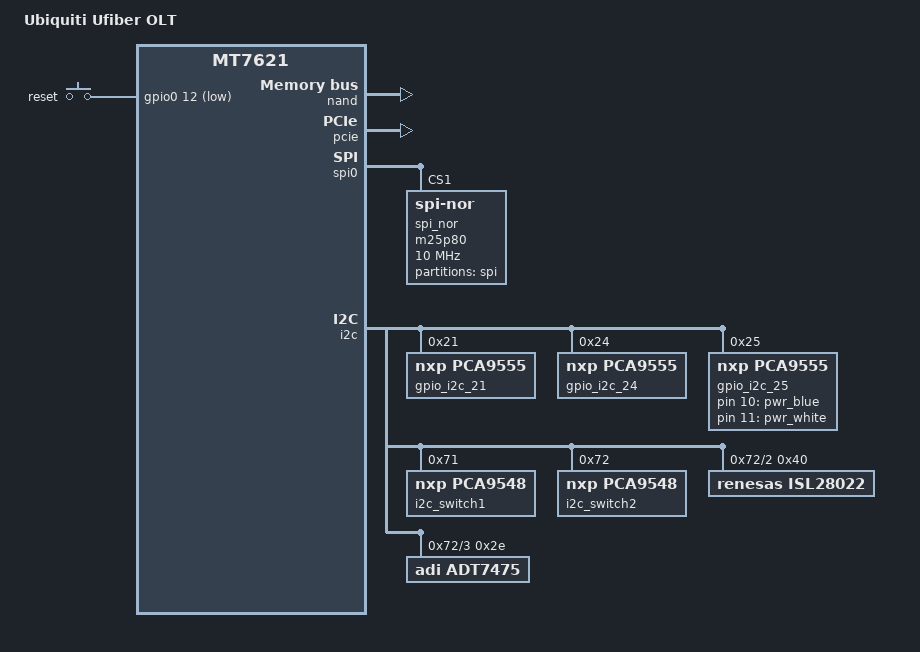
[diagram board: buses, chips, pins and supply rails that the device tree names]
#include "mt7621.dtsi"

#include <dt-bindings/gpio/gpio.h>
#include <dt-bindings/input/input.h>

/ {
	compatible = "ubiquiti,ufiber-olt";
	model = "Ubiquiti Ufiber OLT";

	gpio-keys-polled {
		compatible = "gpio-keys-polled";
		#address-cells = <1>;
		#size-cells = <0>;
		poll-interval = <20>;

		reset {
			label = "reset";
			gpios = <&gpio0 12 GPIO_ACTIVE_LOW>;
			linux,code = <KEY_RESTART>;
		};
	};

	leds: leds {};
};

&ethernet {
	mtd-mac-address = <&factory 0x22>;
};

&nand {
	status = "okay";

	partition@0 {
		reg = <0x0 0x0>;
		read-only;
	};
	partition@1 {
		reg = <0x0 0x0>;
		read-only;
	};
	partition@2 {
		label = "u-boot";
		reg = <0x0 0x80000>;
		read-only;
	};

	partition@80000 {
		label = "u-boot-env";
		reg = <0x80000 0x60000>;
		read-only;
	};

	factory: partition@e0000 {
		label = "eeprom";
		reg = <0xe0000 0x60000>;
	};

	partition@140000 {
		label = "kernel1";
		reg = <0x140000 0x300000>;
	};

	partition@440000 {
		label = "kernel2";
		reg = <0x440000 0x300000>;
	};

	partition@740000 {
		label = "ubi";
		reg = <0x740000 0x1f4c0000>;
	};
};

&pinctrl {
	state_default: pinctrl0 {
		gpio {
			ralink,group = "uart2", "uart3", "rgmii2", "jtag";
			ralink,function = "gpio";
		};
	};
};

&pcie {
	status = "okay";
};

&spi0 {
	/* This board has 2Mb spi flash soldered in and visible
	   from manufacturer's firmware.
	   But this SoC shares spi and nand pins,
	   and current driver does't handle this sharing well */
	status = "okay";

	spi_nor: m25p80@0 {
		#address-cells = <1>;
		#size-cells = <1>;
		compatible = "jedec,spi-nor";
		reg = <1>;
		spi-max-frequency = <10000000>;
		m25p,fast-read = <32>;

		partition@0 {
			label = "spi";
			reg = <0x0 0x200000>;
			read-only;
		};
	};
};

&xhci {
	status = "disabled";
};

&i2c {
	status = "okay";
	gpio_i2c_21: pca9555@21 {
		compatible = "nxp,pca9555";
		reg = <0x21>;
		status = "okay";
		#gpio-cells = <2>;
	};
	gpio_i2c_24: pca9555@24 {
		compatible = "nxp,pca9555";
		reg = <0x24>;
		status = "okay";
		#gpio-cells = <2>;
	};
	gpio_i2c_25: pca9555@25 {
		compatible = "nxp,pca9555";
		reg = <0x25>;
		status = "okay";
		#gpio-cells = <2>;
	};
	i2c_switch1: i2c-switch@71 {
		compatible = "nxp,pca9548";
		#address-cells = <1>;
		#size-cells = <0>;
		reg = <0x71>;
		i2c-mux-idle-disconnect;
		i2c71@0 {
			#address-cells = <1>;
			#size-cells = <0>;
			reg = <0>;
		};
		i2c71@1 {
			#address-cells = <1>;
			#size-cells = <0>;
			reg = <1>;
		};
		i2c71@2 {
			#address-cells = <1>;
			#size-cells = <0>;
			reg = <2>;
		};
		i2c71@3 {
			#address-cells = <1>;
			#size-cells = <0>;
			reg = <3>;
		};
		i2c71@4 {
			#address-cells = <1>;
			#size-cells = <0>;
			reg = <4>;
		};
		i2c71@5 {
			#address-cells = <1>;
			#size-cells = <0>;
			reg = <5>;
		};
		i2c71@6 {
			#address-cells = <1>;
			#size-cells = <0>;
			reg = <6>;
		};
		i2c71@7 {
			#address-cells = <1>;
			#size-cells = <0>;
			reg = <7>;
		};
	};
	i2c_switch2: i2c-switch@72 {
		compatible = "nxp,pca9548";
		#address-cells = <1>;
		#size-cells = <0>;
		reg = <0x72>;
		i2c-mux-idle-disconnect;
		i2c@0 {
			#address-cells = <1>;
			#size-cells = <0>;
			reg = <0>;
		};
		i2c@1 {
			#address-cells = <1>;
			#size-cells = <0>;
			reg = <1>;
		};
		i2c@2 {
			#address-cells = <1>;
			#size-cells = <0>;
			reg = <2>;
			isl28022@2 {
				compatible = "renesas,isl28022";
				reg = <0x40>;
			};
		};
		i2c@3 {
			#address-cells = <1>;
			#size-cells = <0>;
			reg = <3>;
			adt7475@2e {
				compatible = "adi,adt7475";
				reg = <0x2e>;
			};
		};
	};


};

&leds {
        compatible = "gpio-leds";
        pwr_blue {
                gpios = <&gpio_i2c_25 10 GPIO_ACTIVE_HIGH>;
                default-state = "on";
        };
        pwr_white {
                gpios = <&gpio_i2c_25 11 GPIO_ACTIVE_HIGH>;
                default-state = "off";
        };
};
